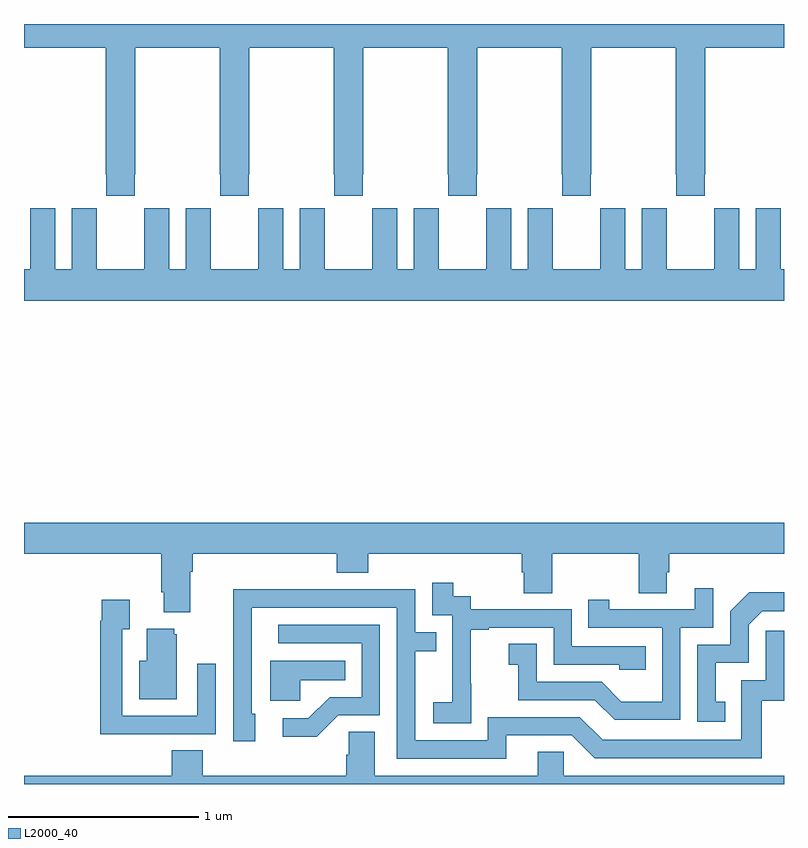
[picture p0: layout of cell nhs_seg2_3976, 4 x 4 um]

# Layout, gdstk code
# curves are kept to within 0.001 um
import gdstk
lib = gdstk.Library(unit=1e-6, precision=1e-09)
def P(c, l, *ps):  # polygons
    for p in ps: c.add(gdstk.Polygon(p, *l))
L2000_40 = (2000, 40)

nhs_seg2_3976 = lib.new_cell('nhs_seg2_3976')
P(nhs_seg2_3976, L2000_40, [(323.583,607.009),(323.586,607.009),(323.586,607.676),(324.031,607.676),(324.031,607.009),(324.033,607.009),(324.033,606.897),(324.183,606.897),(324.183,607.009),(324.186,607.009),(324.186,607.676),(324.631,607.676),(324.631,607.009),(324.633,607.009),(324.633,606.897),(324.783,606.897),(324.783,607.009),(324.786,607.009),(324.786,607.676),(325.231,607.676),(325.231,607.009),(325.233,607.009),(325.233,606.897),(325.383,606.897),(325.383,607.009),(325.386,607.009),(325.386,607.676),(325.831,607.676),(325.831,607.009),(325.833,607.009),(325.833,606.897),(325.983,606.897),(325.983,607.009),(325.986,607.009),(325.986,607.676),(326.431,607.676),(326.431,607.009),(326.433,607.009),(326.433,606.897),(326.583,606.897),(326.583,607.009),(326.586,607.009),(326.586,607.676),(327,607.676),(327,607.8),(323,607.8),(323,607.676),(323.431,607.676),(323.431,607.009),(323.433,607.009),(323.433,606.897),(323.583,606.897)],
  [(327,606.508),(326.983,606.508),(326.983,606.716),(326.982,606.716),(326.982,606.829),(326.852,606.829),(326.852,606.508),(326.764,606.508),(326.764,606.829),(326.634,606.829),(326.634,606.716),(326.633,606.716),(326.633,606.508),(326.383,606.508),(326.383,606.716),(326.382,606.716),(326.382,606.829),(326.252,606.829),(326.252,606.508),(326.164,606.508),(326.164,606.829),(326.034,606.829),(326.034,606.716),(326.033,606.716),(326.033,606.508),(325.783,606.508),(325.783,606.716),(325.782,606.716),(325.782,606.829),(325.652,606.829),(325.652,606.508),(325.564,606.508),(325.564,606.829),(325.434,606.829),(325.434,606.716),(325.433,606.716),(325.433,606.508),(325.183,606.508),(325.183,606.716),(325.182,606.716),(325.182,606.829),(325.052,606.829),(325.052,606.508),(324.964,606.508),(324.964,606.829),(324.834,606.829),(324.834,606.716),(324.833,606.716),(324.833,606.508),(324.583,606.508),(324.583,606.716),(324.582,606.716),(324.582,606.829),(324.452,606.829),(324.452,606.508),(324.364,606.508),(324.364,606.829),(324.234,606.829),(324.234,606.716),(324.233,606.716),(324.233,606.508),(323.983,606.508),(323.983,606.716),(323.982,606.716),(323.982,606.829),(323.852,606.829),(323.852,606.508),(323.764,606.508),(323.764,606.829),(323.634,606.829),(323.634,606.716),(323.633,606.716),(323.633,606.508),(323.383,606.508),(323.383,606.716),(323.382,606.716),(323.382,606.829),(323.252,606.829),(323.252,606.508),(323.164,606.508),(323.164,606.829),(323.034,606.829),(323.034,606.716),(323.033,606.716),(323.033,606.508),(323,606.508),(323,606.344),(327,606.344)],
  [(323.875,604.916),(323.888,604.916),(323.888,605.012),(324.647,605.012),(324.647,604.913),(324.812,604.913),(324.812,605.012),(325.619,605.012),(325.619,604.914),(325.631,604.914),(325.631,604.804),(325.779,604.804),(325.779,605.012),(326.236,605.012),(326.236,604.804),(326.383,604.804),(326.383,604.914),(326.396,604.914),(326.396,605.012),(327,605.012),(327,605.176),(323,605.176),(323,605.012),(323.723,605.012),(323.723,604.81),(323.735,604.81),(323.735,604.703),(323.875,604.703)],
  [(325.353,604.327),(325.352,604.327),(325.352,604.611),(325.447,604.611),(325.447,604.623),(325.788,604.623),(325.788,604.428),(326.133,604.428),(326.133,604.401),(326.273,604.401),(326.273,604.524),(325.884,604.524),(325.884,604.719),(325.35,604.719),(325.35,604.788),(325.258,604.788),(325.258,604.858),(325.149,604.858),(325.149,604.689),(325.254,604.689),(325.254,604.46),(325.253,604.46),(325.253,604.231),(325.155,604.231),(325.155,604.121),(325.353,604.121)],
  [(326.454,604.623),(326.628,604.623),(326.628,604.831),(326.531,604.831),(326.531,604.719),(326.08,604.719),(326.08,604.771),(325.969,604.771),(325.969,604.623),(326.358,604.623),(326.358,604.234),(326.144,604.234),(326.04,604.338),(325.698,604.338),(325.698,604.537),(325.551,604.537),(325.551,604.427),(325.6,604.427),(325.6,604.242),(326.003,604.242),(326.108,604.137),(326.454,604.137)],
  [(325.537,604.056),(325.884,604.056),(326.004,603.936),(326.884,603.936),(326.884,604.239),(327,604.239),(327,604.606),(326.904,604.606),(326.904,604.347),(326.775,604.347),(326.775,604.032),(326.046,604.032),(325.926,604.152),(325.44,604.152),(325.44,604.029),(325.059,604.029),(325.059,604.498),(325.169,604.498),(325.169,604.599),(325.059,604.599),(325.059,604.824),(324.563,604.824),(324.563,604.826),(324.1,604.826),(324.1,604.519),(324.102,604.519),(324.102,604.026),(324.217,604.026),(324.217,604.17),(324.198,604.17),(324.199,604.728),(324.963,604.728),(324.963,603.933),(325.537,603.933)],
  [(326.69,604.233),(326.641,604.233),(326.641,604.437),(326.814,604.437),(326.814,604.638),(326.886,604.71),(327,604.71),(327,604.808),(326.816,604.808),(326.718,604.71),(326.718,604.533),(326.544,604.533),(326.544,604.128),(326.69,604.128)],
  [(323.693,604.062),(324.009,604.062),(324.009,604.432),(323.913,604.432),(323.913,604.158),(323.517,604.158),(323.517,604.615),(323.557,604.615),(323.557,604.771),(323.409,604.771),(323.409,604.658),(323.401,604.658),(323.401,604.061),(323.693,604.061)],
  [(324.654,604.161),(324.873,604.161),(324.873,604.638),(324.339,604.638),(324.339,604.542),(324.777,604.542),(324.777,604.257),(324.608,604.257),(324.497,604.146),(324.363,604.146),(324.363,604.049),(324.541,604.049)],
  [(323.803,604.587),(323.792,604.587),(323.792,604.618),(323.645,604.618),(323.645,604.45),(323.606,604.45),(323.606,604.247),(323.803,604.247)],
  [(324.453,604.346),(324.692,604.346),(324.692,604.45),(324.296,604.45),(324.296,604.238),(324.453,604.238)],
  [(327,603.844),(325.842,603.844),(325.842,603.971),(325.703,603.971),(325.703,603.844),(324.847,603.844),(324.847,604.076),(324.708,604.076),(324.708,603.953),(324.695,603.953),(324.695,603.844),(323.942,603.844),(323.942,603.977),(323.777,603.977),(323.777,603.844),(323,603.844),(323,603.8),(327,603.8)])

lib.write_gds('nhs_seg2_3976.gds')
